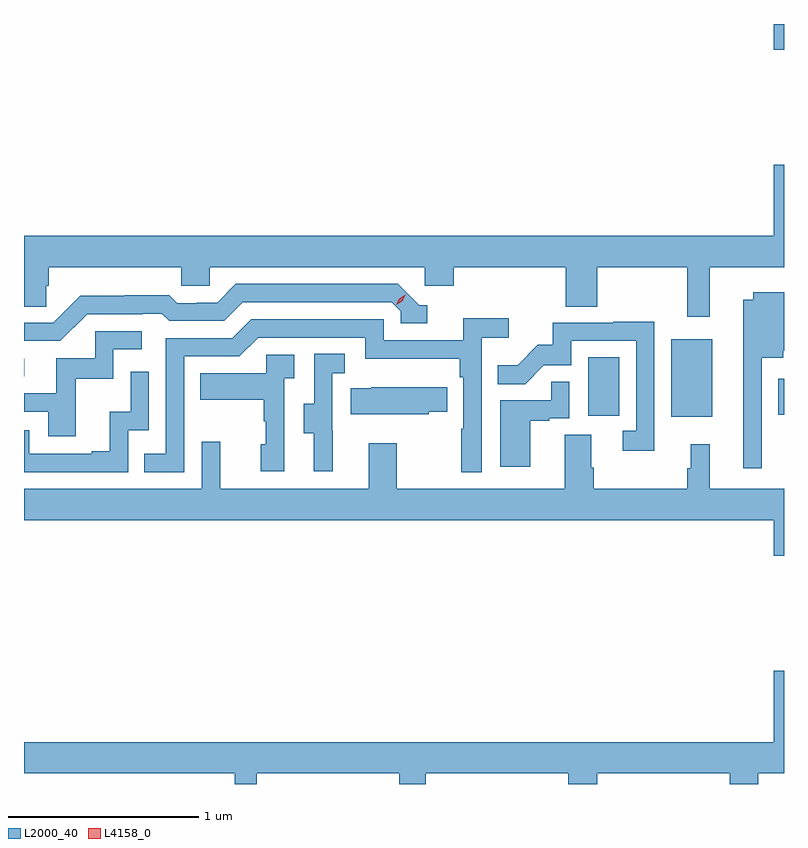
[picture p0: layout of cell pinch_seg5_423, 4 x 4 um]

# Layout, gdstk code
import gdstk
lib = gdstk.Library(unit=1e-6, precision=1e-09)
def R(c, l, rs):  # rectangles x0, y0, x1, y1
    for r in rs: c.add(gdstk.rectangle(r[:2], r[2:], *l))
def P(c, l, *ps):  # polygons
    for p in ps: c.add(gdstk.Polygon(p, *l))
L2000_40 = (2000, 40)
L4158_0 = (4158, 0)

pinch_seg5_423 = lib.new_cell('pinch_seg5_423')
R(pinch_seg5_423, L2000_40, [(955.676,859.967,955.891,860.377), (955.238,859.974,955.402,860.281), (956.24,859.979,956.269,860.167), (952.269,860.181,952.27,860.274), (956.216,861.9,956.269,862.035)])
P(pinch_seg5_423, L2000_40, [(955.878,860.756),(956.269,860.756),(956.269,861.295),(956.216,861.295),(956.216,860.92),(952.269,860.92),(952.269,860.548),(952.385,860.548),(952.385,860.658),(952.4,860.658),(952.4,860.756),(953.097,860.756),(953.097,860.658),(953.247,860.658),(953.247,860.756),(954.378,860.756),(954.378,860.658),(954.53,860.658),(954.53,860.756),(955.121,860.756),(955.121,860.548),(955.286,860.548),(955.286,860.756),(955.759,860.756),(955.759,860.493),(955.878,860.493)],
  [(952.602,860.508),(952.895,860.508),(952.895,860.511),(952.994,860.511),(953.033,860.472),(953.322,860.472),(953.421,860.571),(954.204,860.571),(954.252,860.523),(954.252,860.46),(954.391,860.46),(954.391,860.556),(954.348,860.556),(954.237,860.667),(953.384,860.667),(953.285,860.568),(953.178,860.568),(953.178,860.565),(953.075,860.565),(953.033,860.608),(952.8,860.608),(952.8,860.605),(952.564,860.605),(952.422,860.463),(952.269,860.463),(952.269,860.367),(952.461,860.367)],
  [(956.151,860.279),(956.266,860.279),(956.266,860.315),(956.269,860.315),(956.269,860.623),(956.108,860.623),(956.108,860.584),(956.054,860.584),(956.054,859.698),(956.151,859.698)],
  [(953.112,860.286),(953.403,860.286),(953.502,860.385),(954.066,860.385),(954.066,860.273),(954.562,860.273),(954.562,860.177),(954.582,860.177),(954.582,859.904),(954.57,859.904),(954.57,859.677),(954.678,859.677),(954.678,860.384),(954.82,860.384),(954.82,860.486),(954.581,860.486),(954.581,860.37),(954.162,860.37),(954.162,860.481),(953.465,860.481),(953.366,860.382),(953.016,860.382),(953.016,859.773),(952.903,859.773),(952.903,859.677),(953.112,859.677)],
  [(955.587,860.468),(955.369,860.468),(955.369,860.463),(955.051,860.463),(955.051,860.346),(954.974,860.346),(954.867,860.239),(954.763,860.239),(954.763,860.14),(954.907,860.14),(955.005,860.238),(955.149,860.238),(955.149,860.367),(955.491,860.367),(955.491,859.893),(955.419,859.893),(955.419,859.788),(955.587,859.788)],
  [(952.541,860.169),(952.74,860.169),(952.74,860.322),(952.888,860.322),(952.888,860.418),(952.644,860.418),(952.644,860.277),(952.439,860.277),(952.439,860.091),(952.269,860.091),(952.269,859.995),(952.397,859.995),(952.397,859.866),(952.541,859.866)],
  [(953.894,859.893),(953.892,859.893),(953.892,860.197),(953.956,860.197),(953.956,860.3),(953.796,860.3),(953.796,860.037),(953.741,860.037),(953.741,859.882),(953.795,859.882),(953.795,859.68),(953.894,859.68)],
  [(953.64,860.171),(953.692,860.171),(953.692,860.295),(953.544,860.295),(953.544,860.197),(953.197,860.197),(953.197,860.057),(953.532,860.057),(953.532,859.943),(953.542,859.943),(953.542,859.824),(953.516,859.824),(953.516,859.68),(953.64,859.68)],
  [(952.818,859.896),(952.926,859.896),(952.926,860.206),(952.83,860.206),(952.83,859.994),(952.721,859.994),(952.721,859.786),(952.625,859.786),(952.625,859.773),(952.296,859.773),(952.296,859.896),(952.269,859.896),(952.269,859.677),(952.818,859.677)],
  [(954.934,859.947),(955.034,859.947),(955.034,859.959),(955.14,859.959),(955.14,860.153),(955.045,860.153),(955.045,860.055),(954.776,860.055),(954.776,859.704),(954.934,859.704)],
  [(954.399,859.993),(954.497,859.993),(954.497,860.122),(954.097,860.122),(954.097,860.119),(953.989,860.119),(953.989,859.982),(954.399,859.982)],
  [(955.115,859.874),(955.115,859.588),(954.231,859.588),(954.231,859.828),(954.083,859.828),(954.083,859.588),(953.303,859.588),(953.303,859.837),(953.205,859.837),(953.205,859.588),(952.269,859.588),(952.269,859.424),(956.216,859.424),(956.216,859.236),(956.269,859.236),(956.269,859.588),(955.877,859.588),(955.877,859.822),(955.778,859.822),(955.778,859.697),(955.759,859.697),(955.759,859.588),(955.268,859.588),(955.268,859.7),(955.255,859.7),(955.255,859.874)],
  [(953.493,858.092),(954.245,858.092),(954.245,858.035),(954.384,858.035),(954.384,858.092),(955.134,858.092),(955.134,858.035),(955.286,858.035),(955.286,858.092),(955.983,858.092),(955.983,858.035),(956.133,858.035),(956.133,858.092),(956.269,858.092),(956.269,858.631),(956.216,858.631),(956.216,858.256),(952.269,858.256),(952.269,858.092),(953.377,858.092),(953.377,858.035),(953.493,858.035)])
P(pinch_seg5_423, L4158_0, [(954.228,860.557),(954.228,860.557),(954.244,860.59),(954.275,860.609),(954.275,860.609),(954.275,860.609),(954.259,860.576),(954.229,860.557)])

lib.write_gds('pinch_seg5_423.gds')
